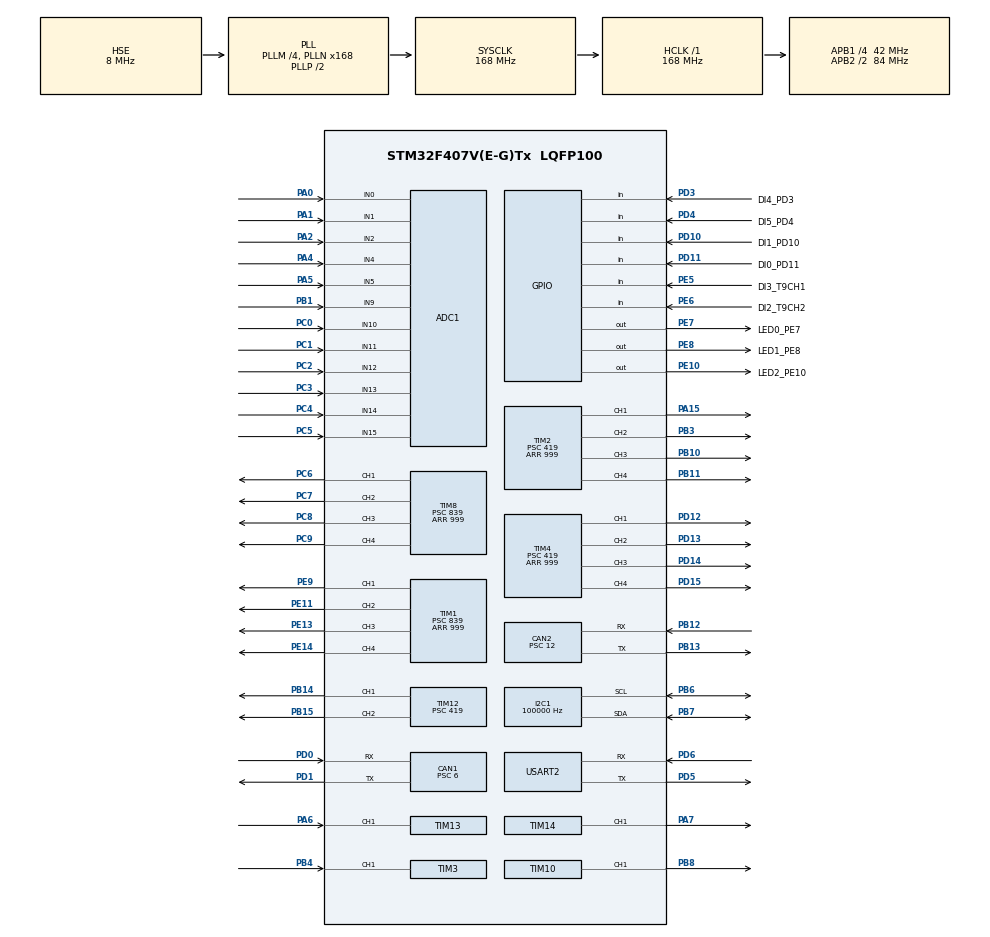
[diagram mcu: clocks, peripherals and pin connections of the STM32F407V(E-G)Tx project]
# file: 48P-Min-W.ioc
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ADC1.Channel-0\#ChannelRegularConversion=ADC_CHANNEL_13
ADC1.Channel-13\#ChannelRegularConversion=ADC_CHANNEL_12
ADC1.Channel-14\#ChannelRegularConversion=ADC_CHANNEL_11
ADC1.Channel-15\#ChannelRegularConversion=ADC_CHANNEL_13
ADC1.Channel-16\#ChannelRegularConversion=ADC_CHANNEL_2
ADC1.Channel-17\#ChannelRegularConversion=ADC_CHANNEL_1
ADC1.Channel-18\#ChannelRegularConversion=ADC_CHANNEL_0
ADC1.Channel-19\#ChannelRegularConversion=ADC_CHANNEL_14
ADC1.Channel-20\#ChannelRegularConversion=ADC_CHANNEL_15
ADC1.Channel-21\#ChannelRegularConversion=ADC_CHANNEL_4
ADC1.Channel-22\#ChannelRegularConversion=ADC_CHANNEL_5
ADC1.Channel-23\#ChannelRegularConversion=ADC_CHANNEL_9
ADC1.Channel-24\#ChannelRegularConversion=ADC_CHANNEL_TEMPSENSOR
ADC1.ClockPrescaler=ADC_CLOCK_SYNC_PCLK_DIV6
ADC1.ContinuousConvMode=ENABLE
ADC1.DMAContinuousRequests=ENABLE
ADC1.EOCSelection=ADC_EOC_SEQ_CONV
ADC1.ExternalTrigConv=ADC_SOFTWARE_START
ADC1.ExternalTrigConvEdge=ADC_EXTERNALTRIGCONVEDGE_NONE
ADC1.NbrOfConversion=13
ADC1.NbrOfConversionFlag=1
ADC1.Rank-13\#ChannelRegularConversion=2
ADC1.Rank-14\#ChannelRegularConversion=3
ADC1.Rank-15\#ChannelRegularConversion=4
ADC1.Rank-16\#ChannelRegularConversion=5
ADC1.Rank-17\#ChannelRegularConversion=6
ADC1.Rank-18\#ChannelRegularConversion=7
ADC1.Rank-19\#ChannelRegularConversion=8
ADC1.Rank-20\#ChannelRegularConversion=9
ADC1.Rank-21\#ChannelRegularConversion=10
ADC1.Rank-22\#ChannelRegularConversion=11
ADC1.Rank-23\#ChannelRegularConversion=12
ADC1.Rank-24\#ChannelRegularConversion=13
ADC1.SamplingTime-0\#ChannelRegularConversion=ADC_SAMPLETIME_144CYCLES
ADC1.SamplingTime-13\#ChannelRegularConversion=ADC_SAMPLETIME_144CYCLES
ADC1.SamplingTime-14\#ChannelRegularConversion=ADC_SAMPLETIME_144CYCLES
ADC1.SamplingTime-15\#ChannelRegularConversion=ADC_SAMPLETIME_144CYCLES
ADC1.SamplingTime-16\#ChannelRegularConversion=ADC_SAMPLETIME_144CYCLES
ADC1.SamplingTime-17\#ChannelRegularConversion=ADC_SAMPLETIME_144CYCLES
ADC1.SamplingTime-18\#ChannelRegularConversion=ADC_SAMPLETIME_144CYCLES
ADC1.SamplingTime-19\#ChannelRegularConversion=ADC_SAMPLETIME_144CYCLES
ADC1.SamplingTime-20\#ChannelRegularConversion=ADC_SAMPLETIME_144CYCLES
ADC1.SamplingTime-21\#ChannelRegularConversion=ADC_SAMPLETIME_144CYCLES
ADC1.SamplingTime-22\#ChannelRegularConversion=ADC_SAMPLETIME_144CYCLES
ADC1.SamplingTime-23\#ChannelRegularConversion=ADC_SAMPLETIME_144CYCLES
ADC1.SamplingTime-24\#ChannelRegularConversion=ADC_SAMPLETIME_144CYCLES
ADC1.ScanConvMode=ENABLE
ADC1.master=1
CAN1.BS1=CAN_BS1_7TQ
CAN1.BS2=CAN_BS2_6TQ
CAN1.CalculateBaudRate=500000
CAN1.CalculateTimeBit=2000
CAN1.CalculateTimeQuantum=142.85714285714286
CAN1.Mode=CAN_MODE_NORMAL
CAN1.Prescaler=6
CAN2.BS1=CAN_BS1_7TQ
CAN2.BS2=CAN_BS2_6TQ
CAN2.CalculateBaudRate=250000
CAN2.CalculateTimeBit=4000
CAN2.CalculateTimeQuantum=285.7142857142857
CAN2.Mode=CAN_MODE_NORMAL
CAN2.Prescaler=12
Dma.ADC1.0.Direction=DMA_PERIPH_TO_MEMORY
Dma.ADC1.0.FIFOMode=DMA_FIFOMODE_DISABLE
Dma.ADC1.0.Instance=DMA2_Stream0
Dma.ADC1.0.MemDataAlignment=DMA_MDATAALIGN_WORD
Dma.ADC1.0.MemInc=DMA_MINC_ENABLE
Dma.ADC1.0.Mode=DMA_CIRCULAR
Dma.ADC1.0.PeriphDataAlignment=DMA_PDATAALIGN_WORD
Dma.ADC1.0.PeriphInc=DMA_PINC_DISABLE
Dma.ADC1.0.Priority=DMA_PRIORITY_HIGH
Dma.Request0=ADC1
FREERTOS.Tasks01=defaultTask,24,128,StartDefaultTask,Default,NULL,Dynamic,NULL,NULL;Logical_Task_L,29,128,Logical_Processing_Low_Task,Default,NULL,Dynamic,NULL,NULL;Parsing_service,30,128,Parsing_service_Task,Default,NULL,Dynamic,NULL,NULL;Send_Message,30,256,Send_Message_StartTask,Default,NULL,Dynamic,NULL,NULL;Logical_Task_H,31,128,Logical_Processing_High_Task,Default,NULL,Dynamic,NULL,NULL;Start_Adc,54,128,Start_Adc_Task,Default,NULL,Dynamic,NULL,NULL
I2C1.ClockSpeed=100000
I2C1.I2C_Mode=I2C_Standard
Mcu.Family=STM32F4
Mcu.Name=STM32F407V(E-G)Tx
Mcu.Package=LQFP100
NVIC.ADC_IRQn=true\:5\:0\:false\:false\:true\:true\:true\:true\:true
NVIC.CAN1_RX0_IRQn=true\:5\:0\:false\:false\:true\:true\:true\:true\:true
NVIC.CAN2_RX1_IRQn=true\:5\:0\:false\:false\:true\:true\:true\:true\:true
NVIC.DMA2_Stream0_IRQn=true\:5\:0\:false\:false\:true\:true\:false\:true\:true
NVIC.PriorityGroup=NVIC_PRIORITYGROUP_4
NVIC.TIM3_IRQn=true\:5\:0\:false\:false\:true\:true\:true\:true\:true
NVIC.TIM6_DAC_IRQn=true\:15\:0\:false\:false\:true\:false\:false\:true\:true
NVIC.TIM8_UP_TIM13_IRQn=true\:5\:0\:false\:false\:true\:true\:true\:true\:true
NVIC.TimeBase=TIM6_DAC_IRQn
NVIC.TimeBaseIP=TIM6
NVIC.USART2_IRQn=true\:5\:0\:false\:false\:true\:true\:true\:true\:true
PA0-WKUP.GPIO_Mode=GPIO_MODE_ANALOG
PA0-WKUP.GPIO_PuPd=GPIO_NOPULL
PA0-WKUP.Signal=ADCx_IN0
PA1.GPIO_Mode=GPIO_MODE_ANALOG
PA1.GPIO_PuPd=GPIO_NOPULL
PA1.Signal=ADCx_IN1
PA13.Mode=Serial_Wire
PA13.Signal=SYS_JTMS-SWDIO
PA14.Mode=Serial_Wire
PA14.Signal=SYS_JTCK-SWCLK
PA15.Signal=S_TIM2_CH1_ETR
PA2.GPIO_Mode=GPIO_MODE_ANALOG
PA2.GPIO_PuPd=GPIO_NOPULL
PA2.Signal=ADCx_IN2
PA4.GPIO_Mode=GPIO_MODE_ANALOG
PA4.GPIO_PuPd=GPIO_NOPULL
PA4.Signal=ADCx_IN4
PA5.GPIO_Mode=GPIO_MODE_ANALOG
PA5.GPIO_PuPd=GPIO_NOPULL
PA5.Signal=ADCx_IN5
PA6.Signal=S_TIM13_CH1
PA7.Signal=S_TIM14_CH1
PB1.GPIO_Mode=GPIO_MODE_ANALOG
PB1.GPIO_PuPd=GPIO_NOPULL
PB1.Signal=ADCx_IN9
PB10.Signal=S_TIM2_CH3
PB11.Signal=S_TIM2_CH4
PB12.GPIO_PuPd=GPIO_PULLUP
PB12.Mode=CAN_Activate
PB12.Signal=CAN2_RX
PB13.GPIO_PuPd=GPIO_PULLUP
PB13.Mode=CAN_Activate
PB13.Signal=CAN2_TX
PB14.Signal=S_TIM12_CH1
PB15.Signal=S_TIM12_CH2
PB3.Signal=S_TIM2_CH2
PB4.Signal=S_TIM3_CH1
PB6.GPIO_Pu=GPIO_PULLUP
PB6.Mode=I2C
PB6.Signal=I2C1_SCL
PB7.GPIO_Pu=GPIO_PULLUP
PB7.Mode=I2C
PB7.Signal=I2C1_SDA
PB8.Signal=S_TIM10_CH1
PC0.GPIO_Mode=GPIO_MODE_ANALOG
PC0.GPIO_PuPd=GPIO_NOPULL
PC0.Signal=ADCx_IN10
PC1.GPIO_Mode=GPIO_MODE_ANALOG
PC1.GPIO_PuPd=GPIO_NOPULL
PC1.Signal=ADCx_IN11
PC2.GPIO_Mode=GPIO_MODE_ANALOG
PC2.GPIO_PuPd=GPIO_NOPULL
PC2.Signal=ADCx_IN12
PC3.GPIO_Mode=GPIO_MODE_ANALOG
PC3.GPIO_PuPd=GPIO_NOPULL
PC3.Signal=ADCx_IN13
PC4.GPIO_Mode=GPIO_MODE_ANALOG
PC4.GPIO_PuPd=GPIO_NOPULL
PC4.Signal=ADCx_IN14
PC5.GPIO_Mode=GPIO_MODE_ANALOG
PC5.GPIO_PuPd=GPIO_NOPULL
PC5.Signal=ADCx_IN15
PC6.Signal=S_TIM8_CH1
PC7.Signal=S_TIM8_CH2
PC8.Signal=S_TIM8_CH3
PC9.Signal=S_TIM8_CH4
PD0.Mode=CAN_Activate
PD0.Signal=CAN1_RX
PD1.Mode=CAN_Activate
PD1.Signal=CAN1_TX
PD10.GPIO_Label=DI1_PD10
PD10.GPIO_PuPd=GPIO_PULLDOWN
PD10.Signal=GPIO_Input
PD11.GPIO_Label=DI0_PD11
PD11.GPIO_PuPd=GPIO_PULLDOWN
PD11.Signal=GPIO_Input
PD12.Signal=S_TIM4_CH1
PD13.Signal=S_TIM4_CH2
PD14.Signal=S_TIM4_CH3
PD15.Signal=S_TIM4_CH4
PD3.GPIO_Label=DI4_PD3
PD3.GPIO_PuPd=GPIO_PULLDOWN
PD3.Signal=GPIO_Input
PD4.GPIO_Label=DI5_PD4
PD4.GPIO_PuPd=GPIO_PULLDOWN
PD4.Signal=GPIO_Input
PD5.Mode=Asynchronous
PD5.Signal=USART2_TX
PD6.Mode=Asynchronous
PD6.Signal=USART2_RX
PE10.GPIO_Label=LED2_PE10
PE10.Signal=GPIO_Output
PE11.Signal=S_TIM1_CH2
PE13.Signal=S_TIM1_CH3
PE14.Signal=S_TIM1_CH4
PE5.GPIO_Label=DI3_T9CH1
PE5.GPIO_PuPd=GPIO_PULLDOWN
PE5.Signal=GPIO_Input
PE6.GPIO_Label=DI2_T9CH2
PE6.GPIO_PuPd=GPIO_PULLDOWN
PE6.Signal=GPIO_Input
PE7.GPIO_Label=LED0_PE7
PE7.Signal=GPIO_Output
PE8.GPIO_Label=LED1_PE8
PE8.Signal=GPIO_Output
PE9.Signal=S_TIM1_CH1
PH0-OSC_IN.Mode=HSE-External-Oscillator
PH0-OSC_IN.Signal=RCC_OSC_IN
PH1-OSC_OUT.Mode=HSE-External-Oscillator
PH1-OSC_OUT.Signal=RCC_OSC_OUT
ProjectManager.HeapSize=0x200
ProjectManager.StackSize=0x400
ProjectManager.TargetToolchain=MDK-ARM V5.32
RCC.48MHZClocksFreq_Value=84000000
RCC.AHBFreq_Value=168000000
RCC.APB1CLKDivider=RCC_HCLK_DIV4
RCC.APB1Freq_Value=42000000
RCC.APB1TimFreq_Value=84000000
RCC.APB2CLKDivider=RCC_HCLK_DIV2
RCC.APB2Freq_Value=84000000
RCC.APB2TimFreq_Value=168000000
RCC.CortexFreq_Value=168000000
RCC.HCLKFreq_Value=168000000
RCC.HSE_VALUE=8000000
RCC.HSI_VALUE=16000000
RCC.LSE_VALUE=32768
RCC.PLLM=4
RCC.PLLN=168
RCC.PLLSourceVirtual=RCC_PLLSOURCE_HSE
RCC.SYSCLKFreq_VALUE=168000000
RCC.SYSCLKSource=RCC_SYSCLKSOURCE_PLLCLK
RCC.VCOOutputFreq_Value=336000000
SH.ADCx_IN0.0=ADC1_IN0,IN0
SH.ADCx_IN1.0=ADC1_IN1,IN1
SH.ADCx_IN10.0=ADC1_IN10,IN10
SH.ADCx_IN11.0=ADC1_IN11,IN11
SH.ADCx_IN12.0=ADC1_IN12,IN12
SH.ADCx_IN13.0=ADC1_IN13,IN13
SH.ADCx_IN14.0=ADC1_IN14,IN14
SH.ADCx_IN15.0=ADC1_IN15,IN15
SH.ADCx_IN2.0=ADC1_IN2,IN2
SH.ADCx_IN4.0=ADC1_IN4,IN4
SH.ADCx_IN5.0=ADC1_IN5,IN5
SH.ADCx_IN9.0=ADC1_IN9,IN9
SH.S_TIM10_CH1.0=TIM10_CH1,PWM Generation1 CH1
SH.S_TIM12_CH1.0=TIM12_CH1,PWM Generation1 CH1
SH.S_TIM12_CH2.0=TIM12_CH2,PWM Generation2 CH2
SH.S_TIM13_CH1.0=TIM13_CH1,Input_Capture1_from_TI1
SH.S_TIM14_CH1.0=TIM14_CH1,PWM Generation1 CH1
SH.S_TIM1_CH1.0=TIM1_CH1,PWM Generation1 CH1
SH.S_TIM1_CH2.0=TIM1_CH2,PWM Generation2 CH2
SH.S_TIM1_CH3.0=TIM1_CH3,PWM Generation3 CH3
SH.S_TIM1_CH4.0=TIM1_CH4,PWM Generation4 CH4
SH.S_TIM2_CH1_ETR.0=TIM2_CH1,PWM Generation1 CH1
SH.S_TIM2_CH2.0=TIM2_CH2,PWM Generation2 CH2
SH.S_TIM2_CH3.0=TIM2_CH3,PWM Generation3 CH3
SH.S_TIM2_CH4.0=TIM2_CH4,PWM Generation4 CH4
SH.S_TIM3_CH1.0=TIM3_CH1,Input_Capture1_from_TI1
SH.S_TIM4_CH1.0=TIM4_CH1,PWM Generation1 CH1
SH.S_TIM4_CH2.0=TIM4_CH2,PWM Generation2 CH2
SH.S_TIM4_CH3.0=TIM4_CH3,PWM Generation3 CH3
SH.S_TIM4_CH4.0=TIM4_CH4,PWM Generation4 CH4
SH.S_TIM8_CH1.0=TIM8_CH1,PWM Generation1 CH1
SH.S_TIM8_CH2.0=TIM8_CH2,PWM Generation2 CH2
SH.S_TIM8_CH3.0=TIM8_CH3,PWM Generation3 CH3
SH.S_TIM8_CH4.0=TIM8_CH4,PWM Generation4 CH4
TIM1.Channel-PWM\ Generation1\ CH1=TIM_CHANNEL_1
TIM1.Channel-PWM\ Generation2\ CH2=TIM_CHANNEL_2
TIM1.Channel-PWM\ Generation3\ CH3=TIM_CHANNEL_3
TIM1.Channel-PWM\ Generation4\ CH4=TIM_CHANNEL_4
TIM1.Period=999
TIM1.Prescaler=839
TIM10.Channel=TIM_CHANNEL_1
TIM10.Period=999
TIM10.Prescaler=839
TIM12.Channel-PWM\ Generation1\ CH1=TIM_CHANNEL_1
TIM12.Channel-PWM\ Generation2\ CH2=TIM_CHANNEL_2
TIM12.Period=999
TIM12.Prescaler=419
TIM13.AutoReloadPreload=TIM_AUTORELOAD_PRELOAD_ENABLE
TIM13.Channel=TIM_CHANNEL_1
TIM13.Period=0xFFFF
TIM13.Prescaler=83
TIM14.Channel=TIM_CHANNEL_1
TIM14.Period=999
TIM14.Prescaler=419
TIM2.Channel-PWM\ Generation1\ CH1=TIM_CHANNEL_1
TIM2.Channel-PWM\ Generation2\ CH2=TIM_CHANNEL_2
TIM2.Channel-PWM\ Generation3\ CH3=TIM_CHANNEL_3
TIM2.Channel-PWM\ Generation4\ CH4=TIM_CHANNEL_4
TIM2.Period=999
TIM2.Prescaler=419
TIM3.AutoReloadPreload=TIM_AUTORELOAD_PRELOAD_ENABLE
TIM3.Channel-Input_Capture1_from_TI1=TIM_CHANNEL_1
TIM3.Period=0xFFFF
TIM3.Prescaler=83
TIM4.Channel-PWM\ Generation1\ CH1=TIM_CHANNEL_1
TIM4.Channel-PWM\ Generation2\ CH2=TIM_CHANNEL_2
TIM4.Channel-PWM\ Generation3\ CH3=TIM_CHANNEL_3
TIM4.Channel-PWM\ Generation4\ CH4=TIM_CHANNEL_4
TIM4.Period=999
TIM4.Prescaler=419
TIM8.Channel-PWM\ Generation1\ CH1=TIM_CHANNEL_1
TIM8.Channel-PWM\ Generation2\ CH2=TIM_CHANNEL_2
TIM8.Channel-PWM\ Generation3\ CH3=TIM_CHANNEL_3
TIM8.Channel-PWM\ Generation4\ CH4=TIM_CHANNEL_4
TIM8.Period=999
TIM8.Prescaler=839
USART2.VirtualMode=VM_ASYNC
VP_ADC1_TempSens_Input.Mode=IN-TempSens
VP_FREERTOS_VS_CMSIS_V2.Mode=CMSIS_V2
VP_SYS_VS_tim6.Mode=TIM6
VP_TIM10_VS_ClockSourceINT.Mode=Enable_Timer
VP_TIM13_VS_ClockSourceINT.Mode=Enable_Timer
VP_TIM14_VS_ClockSourceINT.Mode=Enable_Timer
VP_TIM3_VS_ClockSourceINT.Mode=Internal
board=custom

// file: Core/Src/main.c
/* USER CODE BEGIN Header */
/**
  ******************************************************************************
  * @file           : main.c
  * @brief          : Main program body
  ******************************************************************************
  * @attention
  *
  * Copyright (c) 2023 STMicroelectronics.
  * All rights reserved.
  *
  * This software is licensed under terms that can be found in the LICENSE file
  * in the root directory of this software component.
  * If no LICENSE file comes with this software, it is provided AS-IS.
  *
  ******************************************************************************

	嗨，嵌入式工程师。详见RADME(.././)，如需修改底层BSP请与我评估.
	HI Embedded Engineer.See RADME(.././) for details, If you need to modify the underlying BSP, please evaluate with me,

	硬件版本号:VCU-48Pin-W-Min(V2.0(除诊断外),V3.0及以上版本)
	BSP版本号:V1.6

	V1.6:
		1.基础说明编写(就是你看的这个)
		2.添加双路测速

	V1.7(待定)
		1.UDS上位机

  */
/* USER CODE END Header */
#include "main.h"
#include "cmsis_os.h"
#include "adc.h"
#include "can.h"
#include "dma.h"
#include "i2c.h"
#include "tim.h"
#include "usart.h"
#include "gpio.h"

/* USER CODE BEGIN Includes */

#include "Electric_L_Pub.h"
#include "BSP_48Pin_Pub_L.h"
#include "DEBUG_Pub.h"
#include "Diagnose.h"
#include "Config.h"
#include "DEBUG_UART.h"
/* USER CODE END Includes */

void SystemClock_Config(void);
void MX_FREERTOS_Init(void);

int main(void)
{

  /* MCU Configuration--------------------------------------------------------*/

  /* Reset of all peripherals, Initializes the Flash interface and the Systick. */
  HAL_Init();

  /* Configure the system clock */
  SystemClock_Config();

  /* Initialize all configured peripherals */
  MX_GPIO_Init();
  MX_DMA_Init();
  MX_USART2_UART_Init();
  MX_TIM1_Init();
  MX_TIM2_Init();
  MX_TIM4_Init();
  MX_TIM8_Init();
  MX_TIM10_Init();
  MX_TIM12_Init();
  MX_TIM14_Init();
  MX_ADC1_Init();
  MX_CAN1_Init();
  MX_CAN2_Init();
  MX_I2C1_Init();
  MX_TIM13_Init();
  MX_TIM3_Init();
  /* USER CODE BEGIN 2 */
	//--------------------------------------------------------------------------------------------------------------

	//系统打印

	//Functional_Debug(); //功能性调试 TEST

	//初始化各类函数
	Car_Iint();		//整车硬件初始化(PWM初始化,ADC_DMA初始化,)

	Car_Soft_Parameter_config();	//整车系统参数配置

	Open_Power();	//整车电源

	Car_Can_Iint();//通讯初始化

	#ifdef SERIAL_TUNING //串口调参
			DEBUG_UART_Init();	//串口调试
	#endif

	//--------------------------------------------------------------------------------------------------------------
  /* USER CODE END 2 */

  /* Init scheduler */
  osKernelInitialize();

  /* Call init function for freertos objects (in freertos.c) */
  MX_FREERTOS_Init();

  /* Start scheduler */
  osKernelStart();

  /* We should never get here as control is now taken by the scheduler */
  /* Infinite loop */
  while (1)
  {

  }
}

void SystemClock_Config(void)
{
  RCC_OscInitTypeDef RCC_OscInitStruct = {0};
  RCC_ClkInitTypeDef RCC_ClkInitStruct = {0};

  /** Configure the main internal regulator output voltage
  */
  __HAL_RCC_PWR_CLK_ENABLE();
  __HAL_PWR_VOLTAGESCALING_CONFIG(PWR_REGULATOR_VOLTAGE_SCALE1);

  /** Initializes the RCC Oscillators according to the specified parameters
  * in the RCC_OscInitTypeDef structure.
  */
  RCC_OscInitStruct.OscillatorType = RCC_OSCILLATORTYPE_HSE;
  RCC_OscInitStruct.HSEState = RCC_HSE_ON;
  RCC_OscInitStruct.PLL.PLLState = RCC_PLL_ON;
  RCC_OscInitStruct.PLL.PLLSource = RCC_PLLSOURCE_HSE;
  RCC_OscInitStruct.PLL.PLLM = 4;
  RCC_OscInitStruct.PLL.PLLN = 168;
  RCC_OscInitStruct.PLL.PLLP = RCC_PLLP_DIV2;
  RCC_OscInitStruct.PLL.PLLQ = 4;
  if (HAL_RCC_OscConfig(&RCC_OscInitStruct) != HAL_OK)
  {
    Error_Handler();
  }

  /** Initializes the CPU, AHB and APB buses clocks
  */
  RCC_ClkInitStruct.ClockType = RCC_CLOCKTYPE_HCLK|RCC_CLOCKTYPE_SYSCLK
                              |RCC_CLOCKTYPE_PCLK1|RCC_CLOCKTYPE_PCLK2;
  RCC_ClkInitStruct.SYSCLKSource = RCC_SYSCLKSOURCE_PLLCLK;
  RCC_ClkInitStruct.AHBCLKDivider = RCC_SYSCLK_DIV1;
  RCC_ClkInitStruct.APB1CLKDivider = RCC_HCLK_DIV4;
  RCC_ClkInitStruct.APB2CLKDivider = RCC_HCLK_DIV2;

  if (HAL_RCC_ClockConfig(&RCC_ClkInitStruct, FLASH_LATENCY_5) != HAL_OK)
  {
    Error_Handler();
  }
}

void HAL_TIM_PeriodElapsedCallback(TIM_HandleTypeDef *htim)
{
  if (htim->Instance == TIM6) {
    HAL_IncTick();
  }
}

void Error_Handler(void)
{
  __disable_irq();
  while (1)
  {
  }
}

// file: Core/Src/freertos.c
/* USER CODE BEGIN Header */
/**
  ******************************************************************************
  * File Name          : freertos.c
  * Description        : Code for freertos applications
  ******************************************************************************
  * @attention
  *
  * Copyright (c) 2023 STMicroelectronics.
  * All rights reserved.
  *
  * This software is licensed under terms that can be found in the LICENSE file
  * in the root directory of this software component.
  * If no LICENSE file comes with this software, it is provided AS-IS.
  *
  ******************************************************************************
  */
/* USER CODE END Header */

#include "FreeRTOS.h"
#include "task.h"
#include "main.h"
#include "cmsis_os.h"

/* USER CODE BEGIN Includes */
#include "adc.h"
#include "usart.h"
#include "stdio.h"
#include "BSP_48Pin_Pub_L.h"		//驱动层
#include "Electric_L_Pub.h"
#include "DEBUG_Pub.h"
#include "Sem_Queues.h"	//队列消息
#include "Logic_Pub_L.h"
#include "Math.h" //算法
#include "220E_Dis_Pub_L.h"
/* USER CODE END Includes */

/* USER CODE BEGIN PD */
extern uint16_t AD_Buf[13];//两个通道采集数据存在这个数组里面
/* USER CODE END PD */

/* Definitions for defaultTask */
osThreadId_t defaultTaskHandle;
const osThreadAttr_t defaultTask_attributes = {
  .name = "defaultTask",
  .stack_size = 128 * 4,
  .priority = (osPriority_t) osPriorityNormal,
};
/* Definitions for Logical_Task_L */
osThreadId_t Logical_Task_LHandle;
const osThreadAttr_t Logical_Task_L_attributes = {
  .name = "Logical_Task_L",
  .stack_size = 128 * 4,
  .priority = (osPriority_t) osPriorityNormal5,
};
/* Definitions for Parsing_service */
osThreadId_t Parsing_serviceHandle;
const osThreadAttr_t Parsing_service_attributes = {
  .name = "Parsing_service",
  .stack_size = 128 * 4,
  .priority = (osPriority_t) osPriorityNormal6,
};
/* Definitions for Send_Message */
osThreadId_t Send_MessageHandle;
const osThreadAttr_t Send_Message_attributes = {
  .name = "Send_Message",
  .stack_size = 256 * 4,
  .priority = (osPriority_t) osPriorityNormal6,
};
/* Definitions for Logical_Task_H */
osThreadId_t Logical_Task_HHandle;
const osThreadAttr_t Logical_Task_H_attributes = {
  .name = "Logical_Task_H",
  .stack_size = 128 * 4,
  .priority = (osPriority_t) osPriorityNormal7,
};
/* Definitions for Start_Adc */
osThreadId_t Start_AdcHandle;
const osThreadAttr_t Start_Adc_attributes = {
  .name = "Start_Adc",
  .stack_size = 128 * 4,
  .priority = (osPriority_t) osPriorityRealtime6,
};

void StartDefaultTask(void *argument);
void Logical_Processing_Low_Task(void *argument);
void Parsing_service_Task(void *argument);
void Send_Message_StartTask(void *argument);
void Logical_Processing_High_Task(void *argument);
void Start_Adc_Task(void *argument);

void MX_FREERTOS_Init(void); /* (MISRA C 2004 rule 8.1) */

void MX_FREERTOS_Init(void) {

  /* USER CODE BEGIN RTOS_MUTEX */
  /* add mutexes, ... */
	Establish_Queue_Create();
  /* USER CODE END RTOS_MUTEX */

  /* Create the thread(s) */
  /* creation of defaultTask */
  defaultTaskHandle = osThreadNew(StartDefaultTask, NULL, &defaultTask_attributes);

  /* creation of Logical_Task_L */
  Logical_Task_LHandle = osThreadNew(Logical_Processing_Low_Task, NULL, &Logical_Task_L_attributes);

  /* creation of Parsing_service */
  Parsing_serviceHandle = osThreadNew(Parsing_service_Task, NULL, &Parsing_service_attributes);

  /* creation of Send_Message */
  Send_MessageHandle = osThreadNew(Send_Message_StartTask, NULL, &Send_Message_attributes);

  /* creation of Logical_Task_H */
  Logical_Task_HHandle = osThreadNew(Logical_Processing_High_Task, NULL, &Logical_Task_H_attributes);

  /* creation of Start_Adc */
  Start_AdcHandle = osThreadNew(Start_Adc_Task, NULL, &Start_Adc_attributes);

}

void StartDefaultTask(void *argument)
{
  /* USER CODE BEGIN StartDefaultTask */
  /* Infinite loop */
  for(;;)
  {
	TickType_t xLastWakeTime = xTaskGetTickCount();
	DEBUG_Item();
    vTaskDelayUntil( &xLastWakeTime, 10);//绝对延时
  }
  /* USER CODE END StartDefaultTask */
}

void Logical_Processing_Low_Task(void *argument)
{
  /* USER CODE BEGIN Logical_Processing_Low_Task */
  /* Infinite loop */
  for(;;)
  {
	//500ms 一次
	//printf("samples:%d\n",Pulse_Speed.SPD1_Speed);
  HAL_GPIO_TogglePin(LED2_PE10_GPIO_Port, LED2_PE10_Pin);	//运行指示灯
	Off_Power();

  osDelay(100);
  }
  /* USER CODE END Logical_Processing_Low_Task */
}

void Parsing_service_Task(void *argument)
{
  /* USER CODE BEGIN Parsing_service_Task */
  /* Infinite loop */
  for(;;)
  {
//	HAL_GPIO_TogglePin(LED2_PE10_GPIO_Port, LED2_PE10_Pin);	//运行指示灯
	//CAN消息处理
	Analytic_CAN();
    osDelay(5);
  }
  /* USER CODE END Parsing_service_Task */
}

void Send_Message_StartTask(void *argument)
{
  /* USER CODE BEGIN Send_Message_StartTask */
  /* Infinite loop */
  for(;;)
  {
			//CAN消息发送
	Send_Message();
    osDelay(10);
  }
  /* USER CODE END Send_Message_StartTask */
}

void Logical_Processing_High_Task(void *argument)
{
  /* USER CODE BEGIN Logical_Processing_High_Task */
  /* Infinite loop */
  for(;;)
  {

 	MOS_Unified_OUT();
	Main_Logical_Processing();

    osDelay(5);
  }
  /* USER CODE END Logical_Processing_High_Task */
}

/* USER CODE BEGIN Header_Start_Adc_Task */
/**
* @brief Function implementing the Start_Adc thread.
* @param argument: Not used
* @retval None
*/
#define ADC_FILTER_BUFF_SIZE			(12)
/* USER CODE END Header_Start_Adc_Task */
void Start_Adc_Task(void *argument)
{
  /* USER CODE BEGIN Start_Adc_Task */
	static uint32_t ADCValueADC[ADC_FILTER_BUFF_SIZE][AIN_COUNT];
	uint32_t ADCValueTmp[ADC_FILTER_BUFF_SIZE];
	uint32_t ADCValueAvg[AIN_COUNT];
	uint8_t i, j, buffLine = 0;

  /* Infinite loop */
  for(;;)
  {
    	if(pdTRUE == xQueueReceive(qAdcIsrToAdcTask, &ADCValueADC[buffLine], portMAX_DELAY))//一直等
		{
		//	printf("samples:%d ,%d ,%d ,%d ,%d ,%d ,%d ,%d ,%d \n",ADCValueDMA[0],ADCValueDMA[1],ADCValueDMA[2],ADCValueDMA[3],ADCValueDMA[4],ADCValueDMA[5],ADCValueDMA[6],ADCValueDMA[7],ADCValueDMA[8],ADCValueDMA[9],ADCValueDMA[10],ADCValueDMA[11],ADCValueDMA[12]);

			if(buffLine == ADC_FILTER_BUFF_SIZE-1)
			{
				for(i=0; i<AIN_COUNT; i++)//逐个传感器做平均值滤波
				{
					for(j=0; j<ADC_FILTER_BUFF_SIZE; j++)
					{
						ADCValueTmp[j] = ADCValueADC[j][i];//把此传感器历次AD值转移到tmp数组, 之后排序、平均

					}
					bubble_sort(ADCValueTmp, ADC_FILTER_BUFF_SIZE);//排序
					ADCValueAvg[i] = ( ADCValueTmp[3] + ADCValueTmp[4] + ADCValueTmp[5] + ADCValueTmp[6] + ADCValueTmp[7]+ADCValueTmp[8] ) / 6;//中间6值求平均
					//0 1 2    9 10 11
				}
				calcPhyValue(0*100, ADCValueDMA, (int16_t *)&adcPhyResult);
				buffLine = 0;//重新开始一轮滤波
			}
			else buffLine++;
		}

		osDelay(1);
  }
  /* USER CODE END Start_Adc_Task */
}
